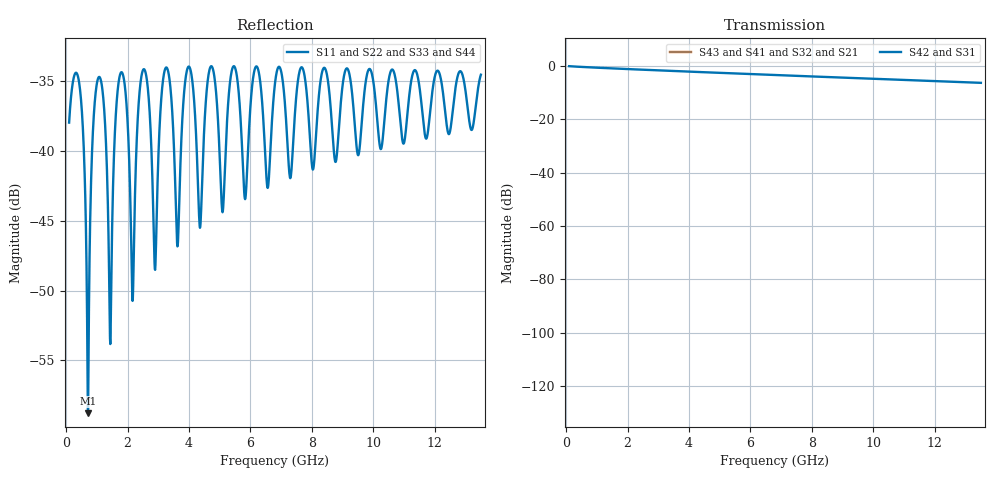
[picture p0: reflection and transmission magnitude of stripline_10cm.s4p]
! Touchstone generated by fitter/viewer
! HL_PORTMAP 1.0
! PORT  1  (PIN N1, Net001, S)
! PORT  2  (PIN N2, Net002, S)
! PORT  3  (PIN N3, Net001, S)
! PORT  4  (PIN N4, Net002, S)
! CONNECT 1, 3;
! CONNECT 2, 4;
! END_HL_PORTMAP
# HZ S  RI R 5.000000e+01
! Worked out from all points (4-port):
!   1351 points, 100 MHz to 13.5 GHz, reference 50 ohm
!   strongest paths, dB at 100 MHz, 3.445 GHz, 6.8 GHz, 10.15 GHz, 13.5 GHz:
!     S42: -0.1, -1.9, -3.5, -4.9, -6.4
!     S31: -0.1, -1.9, -3.5, -4.9, -6.4
!     S43: -, -, -, -, -
!     S41: -, -, -, -, -
!     S32: -, -, -, -, -
!     S21: -, -, -, -, -
!   lowest |S11| = -58.8 dB at 715.4 MHz (marker M1), VSWR 1.00, Z = 50.1 + j0.00963 ohm
!   |S11| at or under -10 dB: start of sweep to end of sweep
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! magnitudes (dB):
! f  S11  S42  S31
! 100 MHz  -38.0  -0.1  -0.1
! 715.4 MHz  -58.8  -0.5  -0.5
! 1.073 GHz  -34.7  -0.7  -0.7
! 1.44 GHz  -53.8  -0.9  -0.9
! 1.797 GHz  -34.4  -1.1  -1.1
! 2.165 GHz  -50.7  -1.3  -1.3
! 13.5 GHz  -34.5  -6.4  -6.4
